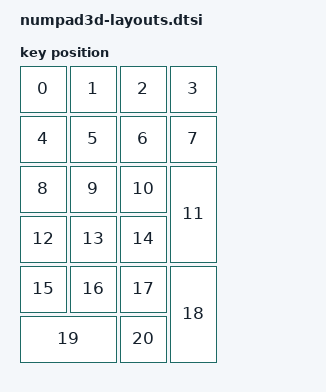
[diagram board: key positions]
// See https://zmk.dev/docs/development/hardware-integration/physical-layouts
// for how to configure this.

#include <physical_layouts.dtsi>

/ {
    default_layout: default_layout {
        compatible = "zmk,physical-layout";
        display-name = "Numpad3D";
        transform = <&default_transform>;
        kscan = <&kscan0>;

        keys
        //        w   h    x    y   rot rx ry

        /* Row 0 */
        = <&key_physical_attrs 100 100   0   0 0 0 0>   // ESC
        , <&key_physical_attrs 100 100 100   0 0 0 0>   // F1
        , <&key_physical_attrs 100 100 200   0 0 0 0>   // F2
        , <&key_physical_attrs 100 100 300   0 0 0 0>   // F3

        /* Row 1 */
        , <&key_physical_attrs 100 100   0 100 0 0 0>   // NUM
        , <&key_physical_attrs 100 100 100 100 0 0 0>   // /
        , <&key_physical_attrs 100 100 200 100 0 0 0>   // *
        , <&key_physical_attrs 100 100 300 100 0 0 0>   // -

        /* Row 2 */
        , <&key_physical_attrs 100 100   0 200 0 0 0>   // 7
        , <&key_physical_attrs 100 100 100 200 0 0 0>   // 8
        , <&key_physical_attrs 100 100 200 200 0 0 0>   // 9
        , <&key_physical_attrs 100 200 300 200 0 0 0>   // ENTER (2u vertical)

        /* Row 3 */
        , <&key_physical_attrs 100 100   0 300 0 0 0>   // 4
        , <&key_physical_attrs 100 100 100 300 0 0 0>   // 5
        , <&key_physical_attrs 100 100 200 300 0 0 0>   // 6

        /* Row 4 */
        , <&key_physical_attrs 100 100   0 400 0 0 0>   // 1
        , <&key_physical_attrs 100 100 100 400 0 0 0>   // 2
        , <&key_physical_attrs 100 100 200 400 0 0 0>   // 3
        , <&key_physical_attrs 100 200 300 400 0 0 0>   // + (2u vertical)

        /* Row 5 */
        , <&key_physical_attrs 200 100   0 500 0 0 0>   // 0 (2u horizontal)
        , <&key_physical_attrs 100 100 200 500 0 0 0>;  // .
    };
};
